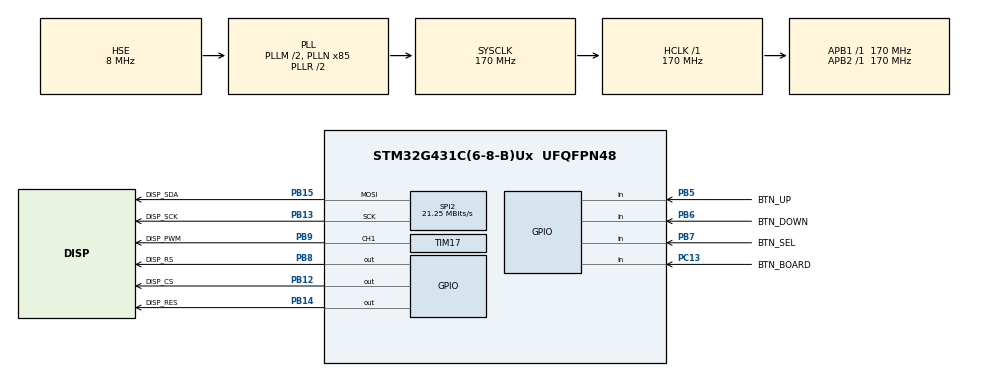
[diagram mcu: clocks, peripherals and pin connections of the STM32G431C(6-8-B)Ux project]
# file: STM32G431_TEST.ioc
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Mcu.Family=STM32G4
Mcu.Name=STM32G431C(6-8-B)Ux
Mcu.Package=UFQFPN48
NVIC.PriorityGroup=NVIC_PRIORITYGROUP_4
PA13.Mode=Serial_Wire
PA13.Signal=SYS_JTMS-SWDIO
PA14.Mode=Serial_Wire
PA14.Signal=SYS_JTCK-SWCLK
PB12.GPIO_Label=DISP_CS
PB12.Signal=GPIO_Output
PB13.GPIO_Label=DISP_SCK
PB13.Mode=TX_Only_Simplex_Unidirect_Master
PB13.Signal=SPI2_SCK
PB14.GPIO_Label=DISP_RES
PB14.Signal=GPIO_Output
PB15.GPIO_Label=DISP_SDA
PB15.Mode=TX_Only_Simplex_Unidirect_Master
PB15.Signal=SPI2_MOSI
PB5.GPIO_Label=BTN_UP
PB5.Signal=GPIO_Input
PB6.GPIO_Label=BTN_DOWN
PB6.Signal=GPIO_Input
PB7.GPIO_Label=BTN_SEL
PB7.Signal=GPIO_Input
PB8-BOOT0.GPIO_Label=DISP_RS
PB8-BOOT0.Signal=GPIO_Output
PB9.GPIO_Label=DISP_PWM
PB9.Signal=S_TIM17_CH1
PC13.GPIO_Label=BTN_BOARD
PC13.Signal=GPIO_Input
PC14-OSC32_IN.Mode=LSE-External-Oscillator
PC14-OSC32_IN.Signal=RCC_OSC32_IN
PC15-OSC32_OUT.Mode=LSE-External-Oscillator
PC15-OSC32_OUT.Signal=RCC_OSC32_OUT
PF0-OSC_IN.Mode=HSE-External-Oscillator
PF0-OSC_IN.Signal=RCC_OSC_IN
PF1-OSC_OUT.Mode=HSE-External-Oscillator
PF1-OSC_OUT.Signal=RCC_OSC_OUT
ProjectManager.HeapSize=0x200
ProjectManager.StackSize=0x400
ProjectManager.TargetToolchain=STM32CubeIDE
RCC.ADC12Freq_Value=170000000
RCC.AHBFreq_Value=170000000
RCC.APB1Freq_Value=170000000
RCC.APB1TimFreq_Value=170000000
RCC.APB2Freq_Value=170000000
RCC.APB2TimFreq_Value=170000000
RCC.CortexFreq_Value=170000000
RCC.EXTERNAL_CLOCK_VALUE=12288000
RCC.HCLKFreq_Value=170000000
RCC.HSE_VALUE=8000000
RCC.HSI48_VALUE=48000000
RCC.HSI_VALUE=16000000
RCC.PLLM=RCC_PLLM_DIV2
RCC.PLLN=85
RCC.PLLSourceVirtual=RCC_PLLSOURCE_HSE
RCC.SYSCLKFreq_VALUE=170000000
RCC.SYSCLKSource=RCC_SYSCLKSOURCE_PLLCLK
RCC.USBFreq_Value=170000000
RCC.VCOOutputFreq_Value=340000000
SH.S_TIM17_CH1.0=TIM17_CH1,PWM Generation1 CH1
SPI2.BaudRatePrescaler=SPI_BAUDRATEPRESCALER_8
SPI2.CalculateBaudRate=21.25 MBits/s
SPI2.DataSize=SPI_DATASIZE_8BIT
SPI2.Direction=SPI_DIRECTION_2LINES
SPI2.Mode=SPI_MODE_MASTER
SPI2.VirtualType=VM_MASTER
TIM17.Channel=TIM_CHANNEL_1
TIM17.PulseNoDither_1=65535
VP_SYS_VS_DBSignals.Mode=DisableDeadBatterySignals
VP_TIM17_VS_ClockSourceINT.Mode=Enable_Timer
board=custom

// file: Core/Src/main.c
/* USER CODE BEGIN Header */
/**
  ******************************************************************************
  * @file           : main.c
  * @brief          : Main program body
  ******************************************************************************
  * @attention
  *
  * Copyright (c) 2025 STMicroelectronics.
  * All rights reserved.
  *
  * This software is licensed under terms that can be found in the LICENSE file
  * in the root directory of this software component.
  * If no LICENSE file comes with this software, it is provided AS-IS.
  *
  ******************************************************************************
  */
/* USER CODE END Header */
#include "main.h"

/* USER CODE BEGIN Includes */
#include "st7735.h"
#include <stdio.h>
#include "fonts.h"
/* USER CODE END Includes */

SPI_HandleTypeDef hspi2;

TIM_HandleTypeDef htim17;

/* USER CODE BEGIN PV */
uint32_t timestamp = 0;
/* USER CODE END PV */

void SystemClock_Config(void);
static void MX_GPIO_Init(void);
static void MX_SPI2_Init(void);
static void MX_TIM17_Init(void);

/* USER CODE BEGIN 0 */
void printtime(uint16_t x, uint16_t y, uint16_t color)
{
	char string[20] = {0};
	uint32_t time = timestamp / 1000;
	sprintf(string, "%2.2lu:%2.2lu:%2.2lu", time / 3600, (time % 3600) / 60, time % 60);
	ST7735_DrawString(x, y, string, color);
}

/* USER CODE END 0 */

int main(void)
{

  /* MCU Configuration--------------------------------------------------------*/

  /* Reset of all peripherals, Initializes the Flash interface and the Systick. */
  HAL_Init();

  /* Configure the system clock */
  SystemClock_Config();

  /* Initialize all configured peripherals */
  MX_GPIO_Init();
  MX_SPI2_Init();
  MX_TIM17_Init();
  /* USER CODE BEGIN 2 */

  uint16_t dutyCycle = 65535;
  __HAL_TIM_SET_COMPARE(&htim17, TIM_CHANNEL_1, dutyCycle);
  HAL_TIM_PWM_Start(&htim17, TIM_CHANNEL_1);
  ST7735_Init();
  ST7735_FillScreen(0);
  int16_t x = 0;
  int16_t y = 0;
  uint8_t xdir = 1;
  uint8_t ydir = 1;
  uint8_t trigger = 0;
  uint32_t temptime = timestamp;

  /* USER CODE END 2 */

  /* Infinite loop */
  /* USER CODE BEGIN WHILE */
  while (1)
  {
	if(x > 111) xdir = 0;
	if(y > 117) ydir = 0;
	if(x < 1) xdir = 1;
	if(y < 1) ydir = 1;
	if((timestamp - temptime) >= 3000) {
			temptime = timestamp;
			if(trigger) trigger = 0;
			else trigger = 1;
		}

	if(trigger) printimage(0, 0, 159, 127, gImage_butterfly, 40960);
	else printimage(0, 0, 159, 127, gImage_tiger, 40960);
	//ST7735_FillRectangle(x, y, 48, 1, 0);
	//ST7735_FillRectangle(x, y, 1, 10, 0);
	if(xdir) x++; else x--;
	if(ydir) y++; else y--;
	printtime(x, y, ST7735_LIGHTGREEN);
	HAL_Delay(20);

    /* USER CODE END WHILE */

  }
}

void SystemClock_Config(void)
{
  RCC_OscInitTypeDef RCC_OscInitStruct = {0};
  RCC_ClkInitTypeDef RCC_ClkInitStruct = {0};

  /** Configure the main internal regulator output voltage
  */
  HAL_PWREx_ControlVoltageScaling(PWR_REGULATOR_VOLTAGE_SCALE1_BOOST);

  /** Initializes the RCC Oscillators according to the specified parameters
  * in the RCC_OscInitTypeDef structure.
  */
  RCC_OscInitStruct.OscillatorType = RCC_OSCILLATORTYPE_HSE;
  RCC_OscInitStruct.HSEState = RCC_HSE_ON;
  RCC_OscInitStruct.PLL.PLLState = RCC_PLL_ON;
  RCC_OscInitStruct.PLL.PLLSource = RCC_PLLSOURCE_HSE;
  RCC_OscInitStruct.PLL.PLLM = RCC_PLLM_DIV2;
  RCC_OscInitStruct.PLL.PLLN = 85;
  RCC_OscInitStruct.PLL.PLLP = RCC_PLLP_DIV2;
  RCC_OscInitStruct.PLL.PLLQ = RCC_PLLQ_DIV2;
  RCC_OscInitStruct.PLL.PLLR = RCC_PLLR_DIV2;
  if (HAL_RCC_OscConfig(&RCC_OscInitStruct) != HAL_OK)
  {
    Error_Handler();
  }

  /** Initializes the CPU, AHB and APB buses clocks
  */
  RCC_ClkInitStruct.ClockType = RCC_CLOCKTYPE_HCLK|RCC_CLOCKTYPE_SYSCLK
                              |RCC_CLOCKTYPE_PCLK1|RCC_CLOCKTYPE_PCLK2;
  RCC_ClkInitStruct.SYSCLKSource = RCC_SYSCLKSOURCE_PLLCLK;
  RCC_ClkInitStruct.AHBCLKDivider = RCC_SYSCLK_DIV1;
  RCC_ClkInitStruct.APB1CLKDivider = RCC_HCLK_DIV1;
  RCC_ClkInitStruct.APB2CLKDivider = RCC_HCLK_DIV1;

  if (HAL_RCC_ClockConfig(&RCC_ClkInitStruct, FLASH_LATENCY_4) != HAL_OK)
  {
    Error_Handler();
  }
}

static void MX_SPI2_Init(void)
{

  /* SPI2 parameter configuration*/
  hspi2.Instance = SPI2;
  hspi2.Init.Mode = SPI_MODE_MASTER;
  hspi2.Init.Direction = SPI_DIRECTION_2LINES;
  hspi2.Init.DataSize = SPI_DATASIZE_8BIT;
  hspi2.Init.CLKPolarity = SPI_POLARITY_LOW;
  hspi2.Init.CLKPhase = SPI_PHASE_1EDGE;
  hspi2.Init.NSS = SPI_NSS_SOFT;
  hspi2.Init.BaudRatePrescaler = SPI_BAUDRATEPRESCALER_8;
  hspi2.Init.FirstBit = SPI_FIRSTBIT_MSB;
  hspi2.Init.TIMode = SPI_TIMODE_DISABLE;
  hspi2.Init.CRCCalculation = SPI_CRCCALCULATION_DISABLE;
  hspi2.Init.CRCPolynomial = 7;
  hspi2.Init.CRCLength = SPI_CRC_LENGTH_DATASIZE;
  hspi2.Init.NSSPMode = SPI_NSS_PULSE_ENABLE;
  if (HAL_SPI_Init(&hspi2) != HAL_OK)
  {
    Error_Handler();
  }

}

static void MX_TIM17_Init(void)
{

  TIM_OC_InitTypeDef sConfigOC = {0};
  TIM_BreakDeadTimeConfigTypeDef sBreakDeadTimeConfig = {0};

  htim17.Instance = TIM17;
  htim17.Init.Prescaler = 0;
  htim17.Init.CounterMode = TIM_COUNTERMODE_UP;
  htim17.Init.Period = 65535;
  htim17.Init.ClockDivision = TIM_CLOCKDIVISION_DIV1;
  htim17.Init.RepetitionCounter = 0;
  htim17.Init.AutoReloadPreload = TIM_AUTORELOAD_PRELOAD_DISABLE;
  if (HAL_TIM_Base_Init(&htim17) != HAL_OK)
  {
    Error_Handler();
  }
  if (HAL_TIM_PWM_Init(&htim17) != HAL_OK)
  {
    Error_Handler();
  }
  sConfigOC.OCMode = TIM_OCMODE_PWM1;
  sConfigOC.Pulse = 65535;
  sConfigOC.OCPolarity = TIM_OCPOLARITY_HIGH;
  sConfigOC.OCNPolarity = TIM_OCNPOLARITY_HIGH;
  sConfigOC.OCFastMode = TIM_OCFAST_DISABLE;
  sConfigOC.OCIdleState = TIM_OCIDLESTATE_RESET;
  sConfigOC.OCNIdleState = TIM_OCNIDLESTATE_RESET;
  if (HAL_TIM_PWM_ConfigChannel(&htim17, &sConfigOC, TIM_CHANNEL_1) != HAL_OK)
  {
    Error_Handler();
  }
  sBreakDeadTimeConfig.OffStateRunMode = TIM_OSSR_DISABLE;
  sBreakDeadTimeConfig.OffStateIDLEMode = TIM_OSSI_DISABLE;
  sBreakDeadTimeConfig.LockLevel = TIM_LOCKLEVEL_OFF;
  sBreakDeadTimeConfig.DeadTime = 0;
  sBreakDeadTimeConfig.BreakState = TIM_BREAK_DISABLE;
  sBreakDeadTimeConfig.BreakPolarity = TIM_BREAKPOLARITY_HIGH;
  sBreakDeadTimeConfig.BreakFilter = 0;
  sBreakDeadTimeConfig.AutomaticOutput = TIM_AUTOMATICOUTPUT_DISABLE;
  if (HAL_TIMEx_ConfigBreakDeadTime(&htim17, &sBreakDeadTimeConfig) != HAL_OK)
  {
    Error_Handler();
  }
  HAL_TIM_MspPostInit(&htim17);

}

static void MX_GPIO_Init(void)
{
  GPIO_InitTypeDef GPIO_InitStruct = {0};

  /* GPIO Ports Clock Enable */
  __HAL_RCC_GPIOC_CLK_ENABLE();
  __HAL_RCC_GPIOF_CLK_ENABLE();
  __HAL_RCC_GPIOB_CLK_ENABLE();
  __HAL_RCC_GPIOA_CLK_ENABLE();

  /*Configure GPIO pin Output Level */
  HAL_GPIO_WritePin(GPIOB, DISP_CS_Pin|DISP_RES_Pin|DISP_RS_Pin, GPIO_PIN_RESET);

  /*Configure GPIO pin : BTN_BOARD_Pin */
  GPIO_InitStruct.Pin = BTN_BOARD_Pin;
  GPIO_InitStruct.Mode = GPIO_MODE_INPUT;
  GPIO_InitStruct.Pull = GPIO_NOPULL;
  HAL_GPIO_Init(BTN_BOARD_GPIO_Port, &GPIO_InitStruct);

  /*Configure GPIO pins : DISP_CS_Pin DISP_RES_Pin DISP_RS_Pin */
  GPIO_InitStruct.Pin = DISP_CS_Pin|DISP_RES_Pin|DISP_RS_Pin;
  GPIO_InitStruct.Mode = GPIO_MODE_OUTPUT_PP;
  GPIO_InitStruct.Pull = GPIO_NOPULL;
  GPIO_InitStruct.Speed = GPIO_SPEED_FREQ_LOW;
  HAL_GPIO_Init(GPIOB, &GPIO_InitStruct);

  /*Configure GPIO pins : BTN_UP_Pin BTN_DOWN_Pin BTN_SEL_Pin */
  GPIO_InitStruct.Pin = BTN_UP_Pin|BTN_DOWN_Pin|BTN_SEL_Pin;
  GPIO_InitStruct.Mode = GPIO_MODE_INPUT;
  GPIO_InitStruct.Pull = GPIO_NOPULL;
  HAL_GPIO_Init(GPIOB, &GPIO_InitStruct);

}

/* USER CODE BEGIN 4 */
void HAL_IncTick(void)
{
  uwTick += uwTickFreq;
  timestamp++;
}
/* USER CODE END 4 */

void Error_Handler(void)
{
  __disable_irq();
  while (1)
  {
  }
}
